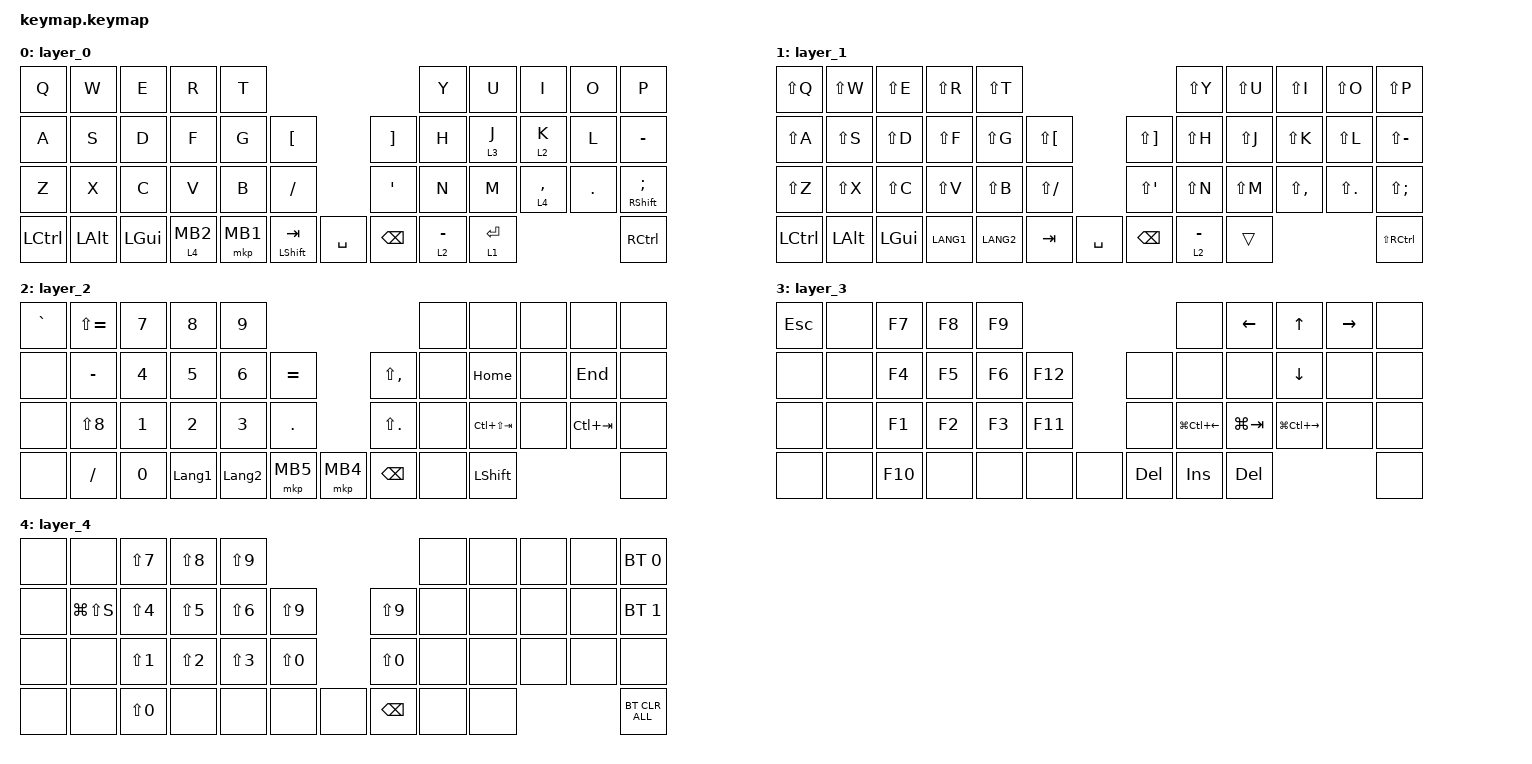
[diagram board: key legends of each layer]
#include <behaviors.dtsi>
#include <dt-bindings/zmk/bt.h>
#include <dt-bindings/zmk/keys.h>
#include <dt-bindings/zmk/pointing.h>

/ {
    combos {
        compatible = "zmk,combos";

        MBN1 {
            bindings = <&mkp MB1>;
            key-positions = <18 19>;
            timeout-ms = <80>;
            layers = <0>;
        };

        MBN2 {
            bindings = <&mkp MB2>;
            key-positions = <17 19>;
            timeout-ms = <80>;
            layers = <0>;
        };
    };

    behaviors {
        mo_mkp: mo_mkp {
            compatible = "zmk,behavior-hold-tap";
            label = "MO_MKP";
            bindings = <&mo>, <&mkp>;

            #binding-cells = <2>;
            tapping-term-ms = <200>;
            flavor = "tap-preferred";
        };
    };

    keymap {
        compatible = "zmk,keymap";

        layer_0 {
            bindings = <
&kp Q      &kp W     &kp E         &kp R          &kp T                                                      &kp Y        &kp U        &kp I        &kp O       &kp P
&kp A      &kp S     &kp D         &kp F          &kp G     &kp LEFT_BRACKET               &kp RBKT          &kp H        &lt 3 J      &lt 2 K      &kp L       &kp MINUS
&kp Z      &kp X     &kp C         &kp V          &kp B     &kp SLASH                      &kp SINGLE_QUOTE  &kp N        &kp M        &lt 4 COMMA  &kp PERIOD  &mt RIGHT_SHIFT SEMI
&kp LCTRL  &kp LALT  &kp LEFT_GUI  &mo_mkp 4 MB2  &mkp MB1  &mt LEFT_SHIFT TAB  &kp SPACE  &kp BSPC          &lt 2 MINUS  &lt 1 ENTER                           &kp RCTRL
            >;
        };

        layer_1 {
            bindings = <
&kp LS(Q)  &kp LS(W)  &kp LS(E)     &kp LS(R)  &kp LS(T)                                                         &kp LS(Y)    &kp LS(U)  &kp LS(I)      &kp LS(O)    &kp LS(P)
&kp LS(A)  &kp LS(S)  &kp LS(D)     &kp LS(F)  &kp LS(G)  &kp LS(LEFT_BRACKET)             &kp LS(RBKT)          &kp LS(H)    &kp LS(J)  &kp LS(K)      &kp LS(L)    &kp LS(MINUS)
&kp LS(Z)  &kp LS(X)  &kp LS(C)     &kp LS(V)  &kp LS(B)  &kp LS(SLASH)                    &kp LS(SINGLE_QUOTE)  &kp LS(N)    &kp LS(M)  &kp LS(COMMA)  &kp LS(DOT)  &kp LS(SEMI)
&kp LCTRL  &kp LALT   &kp LEFT_GUI  &kp LANG1  &kp LANG2  &kp TAB               &kp SPACE  &kp BSPC              &lt 2 MINUS  &trans                                 &kp LS(RCTRL)
            >;
        };

        layer_2 {
            bindings = <
&kp GRAVE  &kp LS(EQUAL)  &kp N7  &kp N8          &kp N9                                               &none  &none            &none  &none        &none
&none      &kp MINUS      &kp N4  &kp N5          &kp N6          &kp EQUAL            &kp LS(COMMA)   &none  &kp HOME         &none  &kp END      &none
&none      &kp LS(N8)     &kp N1  &kp N2          &kp N3          &kp DOT              &kp LS(PERIOD)  &none  &kp LC(LS(TAB))  &none  &kp LC(TAB)  &none
&none      &kp SLASH      &kp N0  &kp LANGUAGE_1  &kp LANGUAGE_2  &mkp MB5   &mkp MB4  &kp BSPC        &none  &kp LEFT_SHIFT                       &none
            >;
        };

        layer_3 {
            bindings = <
&kp ESC  &none  &kp F7   &kp F8  &kp F9                           &none             &kp LEFT_ARROW  &kp UP             &kp RIGHT  &none
&none    &none  &kp F4   &kp F5  &kp F6  &kp F12         &none    &none             &none           &kp DOWN           &none      &none
&none    &none  &kp F1   &kp F2  &kp F3  &kp F11         &none    &kp LG(LC(LEFT))  &kp LG(TAB)     &kp LG(LC(RIGHT))  &none      &none
&none    &none  &kp F10  &none   &none   &none    &none  &kp DEL  &kp INS           &kp DEL                                       &none
            >;
        };

        layer_4 {
            bindings = <
&none  &none          &kp LS(N7)  &kp LS(N8)  &kp LS(N9)                                    &none  &none  &none  &none  &bt BT_SEL 0
&none  &kp LG(LS(S))  &kp LS(N4)  &kp LS(N5)  &kp LS(N6)  &kp LS(N9)         &kp LS(N9)     &none  &none  &none  &none  &bt BT_SEL 1
&none  &none          &kp LS(N1)  &kp LS(N2)  &kp LS(N3)  &kp LS(N0)         &kp LS(N0)     &none  &none  &none  &none  &none
&none  &none          &kp LS(N0)  &none       &none       &none       &none  &kp BACKSPACE  &none  &none                &bt BT_CLR_ALL
            >;
        };
    };
};
